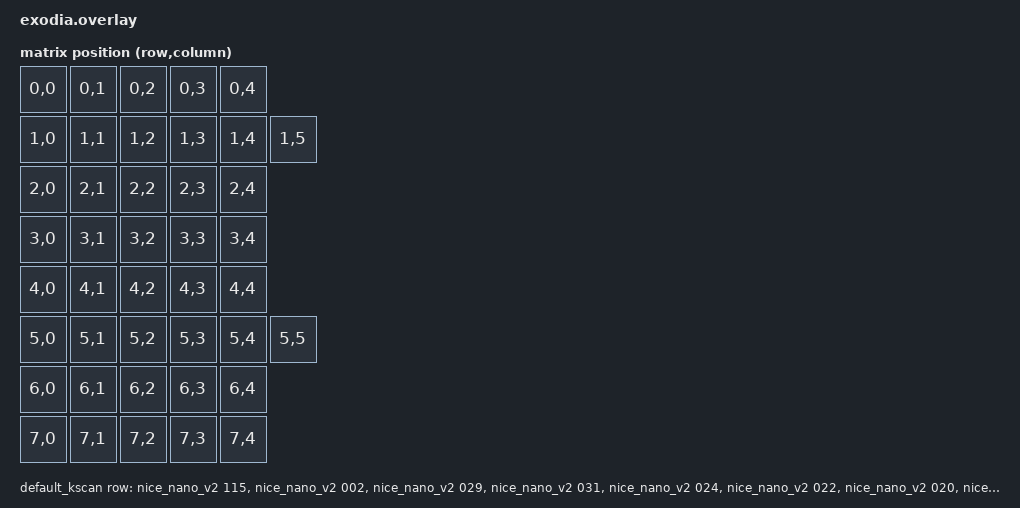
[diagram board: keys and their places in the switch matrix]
#include <dt-bindings/zmk/matrix_transform.h>

/ {
    chosen {
        zmk,kscan = &default_kscan;
        zmk,matrix_transform = &default_transform;
    };

    default_kscan: kscan {
        compatible = "zmk,kscan-gpio-matrix";
        label = "default_kscan";
        diode-direction = "col2row";

        row-gpios = <&nice_nano_v2 115 (GPIO_ACTIVE_HIGH | GPIO_PULL_DOWN)>,
                    <&nice_nano_v2 002 (GPIO_ACTIVE_HIGH | GPIO_PULL_DOWN)>,
                    <&nice_nano_v2 029 (GPIO_ACTIVE_HIGH | GPIO_PULL_DOWN)>,
                    <&nice_nano_v2 031 (GPIO_ACTIVE_HIGH | GPIO_PULL_DOWN)>,
                    <&nice_nano_v2 024 (GPIO_ACTIVE_HIGH | GPIO_PULL_DOWN)>,
                    <&nice_nano_v2 022 (GPIO_ACTIVE_HIGH | GPIO_PULL_DOWN)>,
                    <&nice_nano_v2 020 (GPIO_ACTIVE_HIGH | GPIO_PULL_DOWN)>,
                    <&nice_nano_v2 017 (GPIO_ACTIVE_HIGH | GPIO_PULL_DOWN)>;


        col-gpios = <&nice_nano_v2 011 GPIO_ACTIVE_HIGH>,
                    <&nice_nano_v2 104 GPIO_ACTIVE_HIGH>,
                    <&nice_nano_v2 106 GPIO_ACTIVE_HIGH>,
                    <&nice_nano_v2 111 GPIO_ACTIVE_HIGH>,
                    <&nice_nano_v2 010 GPIO_ACTIVE_HIGH>,
                    <&nice_nano_v2 009 GPIO_ACTIVE_HIGH>,
    };

    default_transform: matrix_transform {
        compatible = "zmk,matrix-transform";
        rows = <8>;
        columns = <6>;

        map = <
            RC(0,0) RC(0,1) RC(0,2) RC(0,3) RC(0,4)
            RC(1,0) RC(1,1) RC(1,2) RC(1,3) RC(1,4) RC(1,5)
            RC(2,0) RC(2,1) RC(2,2) RC(2,3) RC(2,4)
            RC(3,0) RC(3,1) RC(3,2) RC(3,3) RC(3,4)

            RC(4,0) RC(4,1) RC(4,2) RC(4,3) RC(4,4)
            RC(5,0) RC(5,1) RC(5,2) RC(5,3) RC(5,4) RC(5,5)
            RC(6,0) RC(6,1) RC(6,2) RC(6,3) RC(6,4)
            RC(7,0) RC(7,1) RC(7,2) RC(7,3) RC(7,4)
        >;
    };               
};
